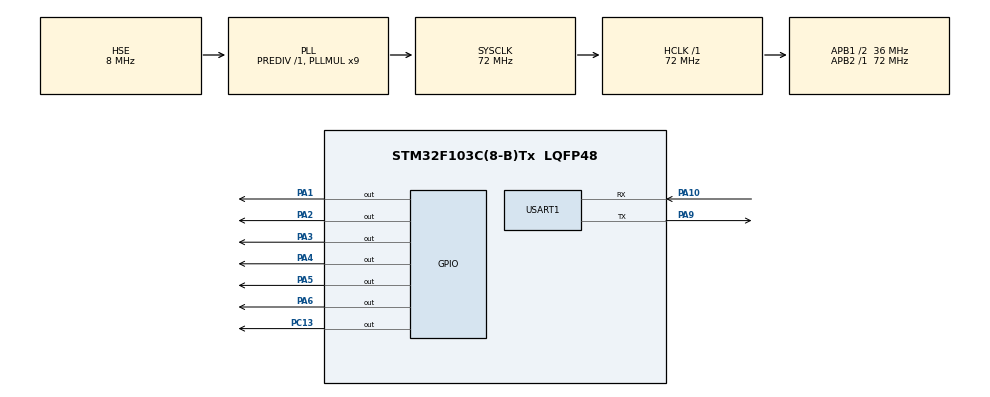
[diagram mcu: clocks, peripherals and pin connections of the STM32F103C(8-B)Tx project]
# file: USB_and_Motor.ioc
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Mcu.Family=STM32F1
Mcu.Name=STM32F103C(8-B)Tx
Mcu.Package=LQFP48
NVIC.PriorityGroup=NVIC_PRIORITYGROUP_4
PA1.Signal=GPIO_Output
PA10.Mode=Asynchronous
PA10.Signal=USART1_RX
PA2.Signal=GPIO_Output
PA3.Signal=GPIO_Output
PA4.Signal=GPIO_Output
PA5.Signal=GPIO_Output
PA6.Signal=GPIO_Output
PA9.Mode=Asynchronous
PA9.Signal=USART1_TX
PC13-TAMPER-RTC.Signal=GPIO_Output
PD0-OSC_IN.Mode=HSE-External-Oscillator
PD0-OSC_IN.Signal=RCC_OSC_IN
PD1-OSC_OUT.Mode=HSE-External-Oscillator
PD1-OSC_OUT.Signal=RCC_OSC_OUT
ProjectManager.HeapSize=0x200
ProjectManager.StackSize=0x400
ProjectManager.TargetToolchain=SW4STM32
RCC.AHBFreq_Value=72000000
RCC.APB1CLKDivider=RCC_HCLK_DIV2
RCC.APB1Freq_Value=36000000
RCC.APB1TimFreq_Value=72000000
RCC.APB2Freq_Value=72000000
RCC.APB2TimFreq_Value=72000000
RCC.HCLKFreq_Value=72000000
RCC.PLLMUL=RCC_PLL_MUL9
RCC.PLLSourceVirtual=RCC_PLLSOURCE_HSE
RCC.SYSCLKFreq_VALUE=72000000
RCC.SYSCLKSource=RCC_SYSCLKSOURCE_PLLCLK
RCC.USBFreq_Value=48000000
RCC.USBPrescaler=RCC_USBCLKSOURCE_PLL_DIV1_5
USART1.VirtualMode=VM_ASYNC
VP_SYS_VS_ND.Mode=No_Debug
board=custom

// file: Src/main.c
/* USER CODE BEGIN Header */
/**
  ******************************************************************************
  * @file           : main.c
  * @brief          : Main program body
  ******************************************************************************
  ** This notice applies to any and all portions of this file
  * that are not between comment pairs USER CODE BEGIN and
  * USER CODE END. Other portions of this file, whether
  * inserted by the user or by software development tools
  * are owned by their respective copyright owners.
  *
  * COPYRIGHT(c) 2019 STMicroelectronics
  *
  * Redistribution and use in source and binary forms, with or without modification,
  * are permitted provided that the following conditions are met:
  *   1. Redistributions of source code must retain the above copyright notice,
  *      this list of conditions and the following disclaimer.
  *   2. Redistributions in binary form must reproduce the above copyright notice,
  *      this list of conditions and the following disclaimer in the documentation
  *      and/or other materials provided with the distribution.
  *   3. Neither the name of STMicroelectronics nor the names of its contributors
  *      may be used to endorse or promote products derived from this software
  *      without specific prior written permission.
  *
  * THIS SOFTWARE IS PROVIDED BY THE COPYRIGHT HOLDERS AND CONTRIBUTORS "AS IS"
  * AND ANY EXPRESS OR IMPLIED WARRANTIES, INCLUDING, BUT NOT LIMITED TO, THE
  * IMPLIED WARRANTIES OF MERCHANTABILITY AND FITNESS FOR A PARTICULAR PURPOSE ARE
  * DISCLAIMED. IN NO EVENT SHALL THE COPYRIGHT HOLDER OR CONTRIBUTORS BE LIABLE
  * FOR ANY DIRECT, INDIRECT, INCIDENTAL, SPECIAL, EXEMPLARY, OR CONSEQUENTIAL
  * DAMAGES (INCLUDING, BUT NOT LIMITED TO, PROCUREMENT OF SUBSTITUTE GOODS OR
  * SERVICES; LOSS OF USE, DATA, OR PROFITS; OR BUSINESS INTERRUPTION) HOWEVER
  * CAUSED AND ON ANY THEORY OF LIABILITY, WHETHER IN CONTRACT, STRICT LIABILITY,
  * OR TORT (INCLUDING NEGLIGENCE OR OTHERWISE) ARISING IN ANY WAY OUT OF THE USE
  * OF THIS SOFTWARE, EVEN IF ADVISED OF THE POSSIBILITY OF SUCH DAMAGE.
  *
  ******************************************************************************
  */
/* USER CODE END Header */

#include "main.h"
#include <stdbool.h>

/* USER CODE BEGIN PTD */
#ifdef __GNUC__
/* With GCC/RAISONANCE, small printf (option LD Linker->Libraries->Small printf
   set to 'Yes') calls __io_putchar() */
#define PUTCHAR_PROTOTYPE int __io_putchar(int ch)
#else
#define PUTCHAR_PROTOTYPE int fputc(int ch, FILE *f)
#endif /* __GNUC__ */
/* USER CODE END PTD */

UART_HandleTypeDef huart1;

void SystemClock_Config(void);
static void MX_GPIO_Init(void);
static void MX_USART1_UART_Init(void);
/* USER CODE BEGIN PFP */
static void EMS_GPIO_Init(void);
static void LEDs_GPIO_Init(void);
void bitHandler(uint8_t bit, uint16_t GPIO_Pin);
void stepHandler(uint8_t run, uint16_t step_cnt, uint16_t delay);
uint16_t read_from_EMS22();
uint8_t crc8(uint8_t *pcBlock, uint8_t len);
/* USER CODE END PFP */

/* USER CODE BEGIN 0 */

// PINA for Motor control
#define N_ENABLE GPIO_PIN_1
#define MS1     GPIO_PIN_2
#define MS2     GPIO_PIN_3
#define MS3     GPIO_PIN_4
#define STEP    GPIO_PIN_5
#define DIR     GPIO_PIN_6
#define MOTOR_PORT GPIOA

// PINB for EMS22A
//#define PIN_DI GPIO_PIN_11
#define PIN_CLK	GPIO_PIN_13
#define PIN_DO 	GPIO_PIN_14
#define PIN_CS 	GPIO_PIN_12
#define EMS22A_PORT GPIOB

// LED's PIN's
// PINB
#define LED1_YELLOW_PIN GPIO_PIN_1
#define LED2_BLUE_PIN GPIO_PIN_0
#define LED1_YELLOW_PORT GPIOB
#define LED2_BLUE_PORT GPIOB
// PINA
#define LED3_GREEN_PIN GPIO_PIN_7
#define LED3_GREEN_PORT GPIOA
// PIC
#define LED_BOARD_PIN GPIO_PIN_13
#define LED_BOARD_PORT GPIOC

//extern uint8_t VCP_write(uint8_t* Buf, uint16_t Len);
//extern int8_t VCP_read(uint8_t* Buf, uint32_t Len);

/* USER CODE END 0 */

int main(void)
{

  /* MCU Configuration--------------------------------------------------------*/

  /* Reset of all peripherals, Initializes the Flash interface and the Systick. */
  HAL_Init();

  /* USER CODE BEGIN Init */
  uint8_t rx_buf[10];
  uint8_t iter = 0;
  uint16_t pos_temp = 0;
  uint8_t calc_crc = 0;
  uint8_t encoderNumber = 0;
  char len[2];
  char mas_len;
  char mas[10];// = (char*)malloc(sizeof(char) * 1);
  char mas_with_len[10];//*mas_with_len = (char*)malloc(sizeof(char) * 1);
  bool tempBit[6];
  char str[10];
  memset(str, 0, 10);
  /* USER CODE END Init */

  /* Configure the system clock */
  SystemClock_Config();

  /* Initialize all configured peripherals */
  MX_GPIO_Init();
  MX_USART1_UART_Init();
  /* USER CODE BEGIN 2 */
  LEDs_GPIO_Init();
  EMS_GPIO_Init();
  /* USER CODE END 2 */

  /* Infinite loop */
  /* USER CODE BEGIN WHILE */

  HAL_GPIO_WritePin(LED_BOARD_PORT, LED_BOARD_PIN, GPIO_PIN_RESET);
  HAL_Delay(1000);
  /*
  snprintf(str, 15, "Hello From U\n");
  HAL_UART_Transmit_IT(&huart1, (uint8_t*)str, strlen(str));
  HAL_GPIO_WritePin(LED1_YELLOW_PORT, LED1_YELLOW_PIN, GPIO_PIN_SET);

  while (rx_buf[0] != '0')
  {
	  HAL_UART_Receive(&huart1, (uint8_t*)rx_buf, 1, 100);
  }
  snprintf(str, 15, "You did it\n");
  HAL_UART_Transmit_IT(&huart1, (uint8_t*)str, strlen(str));
  HAL_GPIO_WritePin(LED2_BLUE_PORT, LED2_BLUE_PIN, GPIO_PIN_SET);
  */
  //HAL_UART_Transmit(&huart1, "yep\n", 7,1000);
  //printf("iter: %d\n", iter);
  //printf("\n\rWrite 0x80 < && > 0x01 for stepper motor driver\n");
  //printf("\n\rWrite 0x80 for encoder position\n");
  HAL_Delay(1000);
  memset(mas, 0, 10);
  memset(mas_with_len, 0, 10);
  while (1)
  {
	 //printf("\n\rlisten ");
	 HAL_UART_Receive(&huart1, (uint8_t*)mas, 4, 1);

	 if ((mas[0] != 0) && (mas[0] < 10))
	 {
		 mas_len = mas[0] + 1;
		 for (iter = 0; iter < mas_len; iter++)
		 {
			 mas_with_len[iter] = mas[iter];
		 }

		 calc_crc = crc8(mas_with_len, mas_len);
		 if (calc_crc == mas[mas_len])
		 {
			 //printf("\n\rcrc is good %d", calc_crc);
			 if (mas[2] == 64)
			 {
				 //printf("\n\rencoder com");
				 pos_temp = 0;
				 pos_temp = read_from_EMS22();
				 mas[0] = 3;
				 mas[1] = encoderNumber;
				 mas[2] = (pos_temp >> 8) & 0xff;
				 mas[3] = pos_temp & 0xff;
				 mas[4] = crc8(mas, 4);
				 HAL_UART_Transmit(&huart1, (uint8_t*)mas, 5, 1);
				 encoderNumber++;
				 //printf("\n\rEMS22:%d", pos_temp);
				 //if (pos_temp > 0)
				//	 printf("\n\rEMS22 more 0:%d", pos_temp);
				 //else
				//	 printf("\n\rEMS22 = 0");
			 }
			 else if (mas[2] < 64)
			 {
				 //printf("\n\rdriver com");

				 str[0] = (mas[2] & 0b00100000) ? 1 : 0;
				 str[1] = (mas[2] & 0b00010000) ? 1 : 0;
				 str[2] = (mas[2] & 0b00001000) ? 1 : 0;
				 str[3] = (mas[2] & 0b00000100) ? 1 : 0;
				 str[4] = (mas[2] & 0b00000010) ? 1 : 0;
				 str[5] = (mas[2] & 0b00000001) ? 1 : 0;
				// printf("\n\ri receive this: %d%d%d%d%d%d", str[0],
				 //			str[1],str[2],str[3],str[4],str[5]);
				 bitHandler(str[0], N_ENABLE);
				 bitHandler(str[1], MS1);
				 bitHandler(str[2], MS2);
				 bitHandler(str[3], MS3);
				 bitHandler(str[5], DIR);
				 stepHandler(str[4], 200, 500);
			 }
			 else if ((mas[2] > 64) && (mas[2] < 128))
			 {
				// printf("\n\rdriver and encoder com");

				 str[0] = (mas[2] & 0b00100000) ? 1 : 0;
				 str[1] = (mas[2] & 0b00010000) ? 1 : 0;
				 str[2] = (mas[2] & 0b00001000) ? 1 : 0;
				 str[3] = (mas[2] & 0b00000100) ? 1 : 0;
				 str[4] = (mas[2] & 0b00000010) ? 1 : 0;
				 str[5] = (mas[2] & 0b00000001) ? 1 : 0;
				// printf("\n\ri receive this: %d%d%d%d%d%d", str[0],
				// 				str[1],str[2],str[3],str[4],str[5]);
				 bitHandler(str[0], N_ENABLE);
				 bitHandler(str[1], MS1);
				 bitHandler(str[2], MS2);
				 bitHandler(str[3], MS3);
				 bitHandler(str[5], DIR);
				 stepHandler(str[4], 200, 500);

				 pos_temp = 0;
				 pos_temp = read_from_EMS22();
				 mas[0] = 3;
				 mas[1] = encoderNumber;
				 mas[2] = (pos_temp >> 8) & 0xff;
				 mas[3] = pos_temp & 0xff;
				 mas[4] = crc8(mas, 4);
				 HAL_UART_Transmit(&huart1, (uint8_t*)mas, 5, 1);
				 //printf("\n\rEMS22:%d", pos_temp);
				// if (pos_temp > 0)
				//	 printf("\n\rEMS22 more 0:%d", pos_temp);
				// else
				//	 printf("\n\rEMS22 = 0");
			 }
			 else
			 {
				 //printf("\n\rleds com");

				 str[0] = (mas[2] & 0b00001000) ? 1 : 0;
				 str[1] = (mas[2] & 0b00000001) ? 1 : 0;
				 str[2] = (mas[2] & 0b00000010) ? 1 : 0;

				 if (str[0])
				 {
					 if ((str[1]) && (str[2]))
						 HAL_GPIO_WritePin(LED3_GREEN_PORT, LED3_GREEN_PIN, GPIO_PIN_SET);
					 else if (str[2])
						 HAL_GPIO_WritePin(LED2_BLUE_PORT, LED2_BLUE_PIN, GPIO_PIN_SET);
					 else
						 HAL_GPIO_WritePin(LED1_YELLOW_PORT, LED1_YELLOW_PIN, GPIO_PIN_SET);
				 } else {
					 if ((str[1]) && (str[2]))
						 HAL_GPIO_WritePin(LED3_GREEN_PORT, LED3_GREEN_PIN, GPIO_PIN_RESET);
					 else if (str[2])
						 HAL_GPIO_WritePin(LED2_BLUE_PORT, LED2_BLUE_PIN, GPIO_PIN_RESET);
					 else
					 	HAL_GPIO_WritePin(LED1_YELLOW_PORT, LED1_YELLOW_PIN, GPIO_PIN_RESET);
				 }

			 }

			 //printf("\n\r");
		 } else {
			// printf("\n\rcrc is bad %d", calc_crc);
		 }

		 memset(mas_with_len, 0, 10);
	 }

	 memset(mas, 0, 10);

	 //printf("\n\ri receive this: %d and this %d", len[0], len[1]);

		 //printf("\n\rlen more than zero ");

		 //mas_len = len[0] + 1;
		 //printf("\n\rmessage len %d ", mas_len);
		 //mas = (char*)realloc(mas, sizeof(char) * mas_len);
		 /*
		 HAL_UART_Receive(&huart1, (uint8_t*)mas, mas_len, 1000);
		 //mas_with_len = (char*)realloc(mas_with_len, sizeof(char) * mas_len);

		 mas_with_len[0] = len;
		 for (iter = 0; iter < len; iter++)
		 {
			 mas_with_len[iter + 1] = mas[iter];
		 }
		 calc_crc = crc8(mas_with_len, len + 1);
		 if (calc_crc == mas[len[0]])
		 {
			 printf("\n\rcrc is good ");
		 }
		 */

	 //memset(str, 0, 10);
		 /*

    /* USER CODE END WHILE */

  }
}

void SystemClock_Config(void)
{
  RCC_OscInitTypeDef RCC_OscInitStruct = {0};
  RCC_ClkInitTypeDef RCC_ClkInitStruct = {0};

  /**Initializes the CPU, AHB and APB busses clocks
  */
  RCC_OscInitStruct.OscillatorType = RCC_OSCILLATORTYPE_HSE;
  RCC_OscInitStruct.HSEState = RCC_HSE_ON;
  RCC_OscInitStruct.HSEPredivValue = RCC_HSE_PREDIV_DIV1;
  RCC_OscInitStruct.HSIState = RCC_HSI_ON;
  RCC_OscInitStruct.PLL.PLLState = RCC_PLL_ON;
  RCC_OscInitStruct.PLL.PLLSource = RCC_PLLSOURCE_HSE;
  RCC_OscInitStruct.PLL.PLLMUL = RCC_PLL_MUL9;
  if (HAL_RCC_OscConfig(&RCC_OscInitStruct) != HAL_OK)
  {
    Error_Handler();
  }
  /**Initializes the CPU, AHB and APB busses clocks
  */
  RCC_ClkInitStruct.ClockType = RCC_CLOCKTYPE_HCLK|RCC_CLOCKTYPE_SYSCLK
                              |RCC_CLOCKTYPE_PCLK1|RCC_CLOCKTYPE_PCLK2;
  RCC_ClkInitStruct.SYSCLKSource = RCC_SYSCLKSOURCE_PLLCLK;
  RCC_ClkInitStruct.AHBCLKDivider = RCC_SYSCLK_DIV1;
  RCC_ClkInitStruct.APB1CLKDivider = RCC_HCLK_DIV2;
  RCC_ClkInitStruct.APB2CLKDivider = RCC_HCLK_DIV1;

  if (HAL_RCC_ClockConfig(&RCC_ClkInitStruct, FLASH_LATENCY_2) != HAL_OK)
  {
    Error_Handler();
  }
}

static void MX_USART1_UART_Init(void)
{

  huart1.Instance = USART1;
  huart1.Init.BaudRate = 115200;
  huart1.Init.WordLength = UART_WORDLENGTH_8B;
  huart1.Init.StopBits = UART_STOPBITS_1;
  huart1.Init.Parity = UART_PARITY_NONE;
  huart1.Init.Mode = UART_MODE_TX_RX;
  huart1.Init.HwFlowCtl = UART_HWCONTROL_NONE;
  huart1.Init.OverSampling = UART_OVERSAMPLING_16;
  if (HAL_UART_Init(&huart1) != HAL_OK)
  {
    Error_Handler();
  }

}

static void MX_GPIO_Init(void)
{
  GPIO_InitTypeDef GPIO_InitStruct = {0};

  /* GPIO Ports Clock Enable */
  __HAL_RCC_GPIOC_CLK_ENABLE();
  __HAL_RCC_GPIOD_CLK_ENABLE();
  __HAL_RCC_GPIOA_CLK_ENABLE();

  /*Configure GPIO pin Output Level */
  HAL_GPIO_WritePin(GPIOC, GPIO_PIN_13, GPIO_PIN_RESET);

  /*Configure GPIO pin Output Level */
  HAL_GPIO_WritePin(GPIOA, GPIO_PIN_1|GPIO_PIN_2|GPIO_PIN_3|GPIO_PIN_4
                          |GPIO_PIN_5|GPIO_PIN_6, GPIO_PIN_RESET);

  /*Configure GPIO pin : PC13 */
  GPIO_InitStruct.Pin = GPIO_PIN_13;
  GPIO_InitStruct.Mode = GPIO_MODE_OUTPUT_PP;
  GPIO_InitStruct.Pull = GPIO_NOPULL;
  GPIO_InitStruct.Speed = GPIO_SPEED_FREQ_LOW;
  HAL_GPIO_Init(GPIOC, &GPIO_InitStruct);

  /*Configure GPIO pins : PA1 PA2 PA3 PA4
                           PA5 PA6 */
  GPIO_InitStruct.Pin = GPIO_PIN_1|GPIO_PIN_2|GPIO_PIN_3|GPIO_PIN_4
                          |GPIO_PIN_5|GPIO_PIN_6;
  GPIO_InitStruct.Mode = GPIO_MODE_OUTPUT_PP;
  GPIO_InitStruct.Pull = GPIO_NOPULL;
  GPIO_InitStruct.Speed = GPIO_SPEED_FREQ_LOW;
  HAL_GPIO_Init(GPIOA, &GPIO_InitStruct);

}

/* USER CODE BEGIN 4 */
static void EMS_GPIO_Init(void)
{
	GPIO_InitTypeDef GPIO_InitStruct = {0};

	__HAL_RCC_GPIOB_CLK_ENABLE();

	GPIO_InitStruct.Pin = PIN_CS|PIN_CLK;
	GPIO_InitStruct.Mode = GPIO_MODE_OUTPUT_PP;
	GPIO_InitStruct.Pull = GPIO_NOPULL;
	GPIO_InitStruct.Speed = GPIO_SPEED_FREQ_LOW;
	HAL_GPIO_Init(EMS22A_PORT, &GPIO_InitStruct);

	GPIO_InitStruct.Pin = PIN_DO;
	GPIO_InitStruct.Mode = GPIO_MODE_INPUT;
	GPIO_InitStruct.Pull = GPIO_NOPULL;
	GPIO_InitStruct.Speed = GPIO_SPEED_FREQ_LOW;
	HAL_GPIO_Init(EMS22A_PORT, &GPIO_InitStruct);

	HAL_GPIO_WritePin(EMS22A_PORT, PIN_CLK, GPIO_PIN_SET);
	HAL_GPIO_WritePin(EMS22A_PORT, PIN_CS, GPIO_PIN_SET);
}

static void LEDs_GPIO_Init(void)
{
  GPIO_InitTypeDef GPIO_InitStruct = {0};

  /* GPIO Ports Clock Enable */
  __HAL_RCC_GPIOC_CLK_ENABLE();
  __HAL_RCC_GPIOB_CLK_ENABLE();
  __HAL_RCC_GPIOA_CLK_ENABLE();

  /*Configure GPIO pin Output Level */
  HAL_GPIO_WritePin(LED_BOARD_PORT, LED_BOARD_PIN, GPIO_PIN_RESET);
  HAL_GPIO_WritePin(LED1_YELLOW_PORT, LED1_YELLOW_PIN, GPIO_PIN_RESET);
  HAL_GPIO_WritePin(LED2_BLUE_PORT, LED2_BLUE_PIN, GPIO_PIN_RESET);
  HAL_GPIO_WritePin(LED3_GREEN_PORT, LED3_GREEN_PIN, GPIO_PIN_RESET);

  /*Configure GPIO pin : LED_BOARD */
  GPIO_InitStruct.Pin = LED_BOARD_PIN;
  GPIO_InitStruct.Mode = GPIO_MODE_OUTPUT_PP;
  GPIO_InitStruct.Pull = GPIO_NOPULL;
  GPIO_InitStruct.Speed = GPIO_SPEED_FREQ_LOW;
  HAL_GPIO_Init(LED_BOARD_PORT, &GPIO_InitStruct);

  /*Configure GPIO pin : LED2_BLUE & LED1_YELLOW */
  GPIO_InitStruct.Pin = LED2_BLUE_PIN|LED1_YELLOW_PIN;
  GPIO_InitStruct.Mode = GPIO_MODE_OUTPUT_PP;
  GPIO_InitStruct.Pull = GPIO_NOPULL;
  GPIO_InitStruct.Speed = GPIO_SPEED_FREQ_LOW;
  HAL_GPIO_Init(LED1_YELLOW_PORT, &GPIO_InitStruct);

  /*Configure GPIO pin : LED3_GREEN */
  GPIO_InitStruct.Pin = LED3_GREEN_PIN;
  GPIO_InitStruct.Mode = GPIO_MODE_OUTPUT_PP;
  GPIO_InitStruct.Pull = GPIO_NOPULL;
  GPIO_InitStruct.Speed = GPIO_SPEED_FREQ_LOW;
  HAL_GPIO_Init(LED3_GREEN_PORT, &GPIO_InitStruct);

}

uint16_t read_from_EMS22()
{
	HAL_GPIO_WritePin(GPIOB, PIN_CS, GPIO_PIN_SET);
	HAL_Delay(1);
	HAL_GPIO_WritePin(GPIOB, PIN_CS, GPIO_PIN_RESET);
	bool read_bit[16];
	uint16_t pos = 0;
	uint8_t iter;
	//uint8_t parity = 0;

	for (iter = 0; iter < 16; iter++)
	{
		HAL_GPIO_WritePin(GPIOB, PIN_CLK, GPIO_PIN_RESET);
		HAL_Delay(1);
		HAL_GPIO_WritePin(GPIOB, PIN_CLK, GPIO_PIN_SET);
		read_bit[iter] = HAL_GPIO_ReadPin(GPIOB, PIN_DO);

		//if (iter < 15)
		//	parity += read_bit[iter];
	}

	//parity %= 2;

	//if (read_bit[15] == parity)
	//{
	for (iter = 0; iter < 10; iter++)
	{
		//pos += read_bit[iter] * pow(2, 10 - (iter));
		pos += read_bit[iter] * (1 << (10 - iter));
	}
	HAL_GPIO_WritePin(GPIOB, PIN_CS, GPIO_PIN_RESET);
	return pos;
	//}

	//HAL_GPIO_WritePin(GPIOB, PIN_CS, GPIO_PIN_RESET);
	//VCP_write(" BAD ", 6);
	//return -1;
}
/*
void writeIntro()
{
	VCP_write("\n\rWrite 1 for stepper motor driver ", 33);
	VCP_write("\n\rWrite 2 for encoder position ", 33);
	//VCP_write("\n\rN_ENABLE MS1 MS2 MS3 STEP DIR: ", 33);
}
*/
PUTCHAR_PROTOTYPE
{
  /* Place your implementation of fputc here */
  /* e.g. write a character to the USART1 and Loop until the end of transmission */
  HAL_UART_Transmit(&huart1, (uint8_t *)&ch, 1, 0xFFFF);

  return ch;
}

void bitHandler(uint8_t bit, uint16_t GPIO_Pin)
{
	if(bit & 0x1) {
		HAL_GPIO_WritePin(GPIOA, GPIO_Pin, GPIO_PIN_SET);
	} else {
		HAL_GPIO_WritePin(GPIOA, GPIO_Pin, GPIO_PIN_RESET);
	}
}

void stepHandler(uint8_t run, uint16_t step_cnt, uint16_t delay)
{
	int i = 0;

	if (run & 0x1) {
		for(i = 0; i < step_cnt; i++)
		{
			HAL_Delay(1);
			HAL_GPIO_WritePin(GPIOA, STEP, GPIO_PIN_SET);

			HAL_Delay(1);
			HAL_GPIO_WritePin(GPIOA, STEP, GPIO_PIN_RESET);

			HAL_GPIO_TogglePin(GPIOC, GPIO_PIN_13);

			//HAL_Delay(delay);
		}
	}
}

uint8_t crc8(uint8_t *pcBlock, uint8_t len)
{
	uint8_t crc = 0xFF;
	uint8_t i;

	while (len--)
	{
		crc ^= *pcBlock++;

		for (i = 0; i < 8; i++)
			crc = crc & 0x80 ?(crc << 1) ^ 0x31 : crc << 1;
	}

	return crc;
}

/* USER CODE END 4 */

void Error_Handler(void)
{
}

/************************ (C) COPYRIGHT STMicroelectronics *****END OF FILE****/
